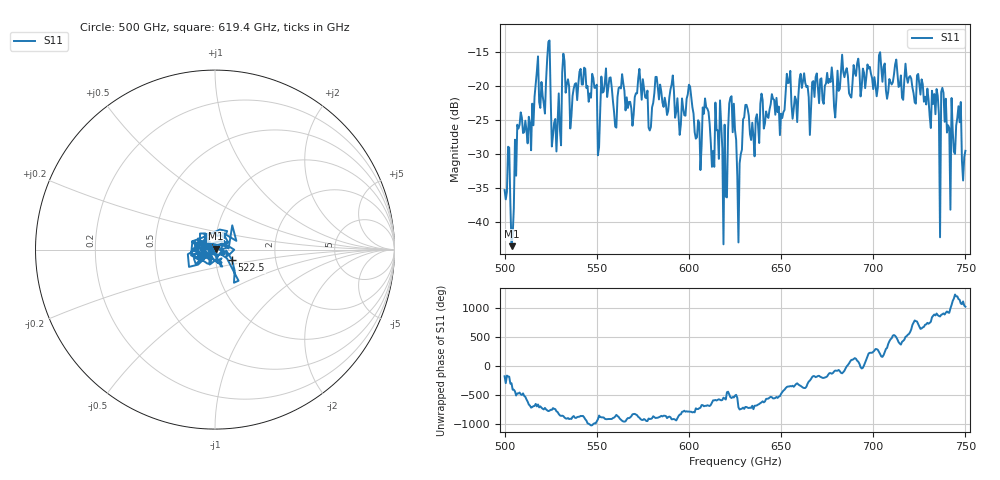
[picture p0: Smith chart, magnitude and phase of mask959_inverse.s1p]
!Created with skrf (http://scikit-rf.org).
# GHz S MA R 50.0
!freq magS11 angS11
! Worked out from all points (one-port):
!   401 points, 500 GHz to 750 GHz, reference 50 ohm
!   lowest |S11| = -43.6 dB at 503.8 GHz (marker M1), VSWR 1.01, Z = 50.3 + j0.585 ohm
!   |S11| at or under -10 dB: start of sweep to end of sweep
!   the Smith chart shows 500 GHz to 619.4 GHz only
!   S11 on the Smith chart (normalised r, x): 500 GHz: 0.97, -0.00; 522.5 GHz: 1.20, -0.14; 619.4 GHz: 0.91, +0.03
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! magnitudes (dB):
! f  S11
! 500 GHz  -35.3
! 503.8 GHz  -43.6
! 508.1 GHz  -25.7
! 522.5 GHz  -19.1
! 523.8 GHz  -13.4
! 526.9 GHz  -25.4
! 531.2 GHz  -18.0
! 562.5 GHz  -20.1
! 593.8 GHz  -21.8
! 600 GHz  -19.8
! 605.6 GHz  -25.4
! 609.4 GHz  -23.1
! 612.5 GHz  -31.9
! 616.9 GHz  -22.1
! 619.4 GHz  -25.7
! 623.1 GHz  -21.5
! 625 GHz  -26.5
! 627.5 GHz  -31.4
! 630.6 GHz  -22.8
! 634.4 GHz  -25.4
! 656.2 GHz  -24.8
! 687.5 GHz  -21.4
! 718.8 GHz  -19.5
! 735 GHz  -21.4
! 738.1 GHz  -21.0
! 743.1 GHz  -26.6
! 746.2 GHz  -23.0
! 750 GHz  -29.5
